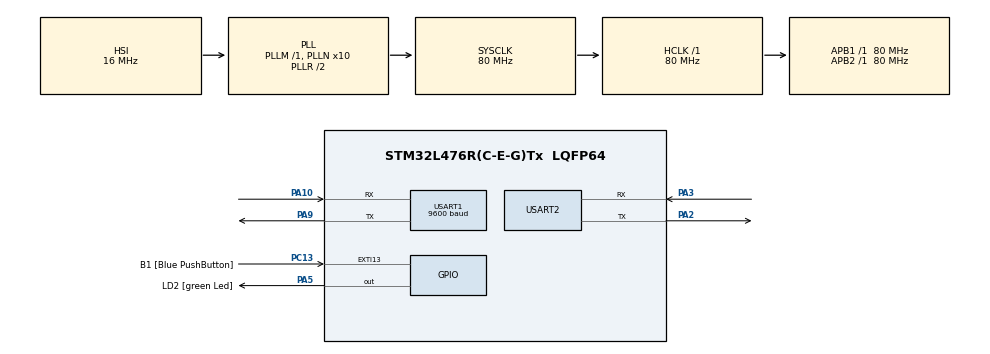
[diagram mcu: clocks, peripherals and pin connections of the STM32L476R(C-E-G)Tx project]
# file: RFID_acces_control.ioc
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Mcu.Family=STM32L4
Mcu.Name=STM32L476R(C-E-G)Tx
Mcu.Package=LQFP64
NVIC.PriorityGroup=NVIC_PRIORITYGROUP_4
NVIC.USART1_IRQn=true\:0\:0\:false\:false\:true\:true\:true
PA10.Mode=Asynchronous
PA10.Signal=USART1_RX
PA13\ (JTMS-SWDIO).GPIO_Label=TMS
PA13\ (JTMS-SWDIO).Mode=Serial_Wire
PA13\ (JTMS-SWDIO).Signal=SYS_JTMS-SWDIO
PA14\ (JTCK-SWCLK).GPIO_Label=TCK
PA14\ (JTCK-SWCLK).Mode=Serial_Wire
PA14\ (JTCK-SWCLK).Signal=SYS_JTCK-SWCLK
PA2.Mode=Asynchronous
PA2.Signal=USART2_TX
PA3.Mode=Asynchronous
PA3.Signal=USART2_RX
PA5.GPIO_Label=LD2 [green Led]
PA5.GPIO_ModeDefaultOutputPP=GPIO_MODE_OUTPUT_PP
PA5.GPIO_PuPd=GPIO_NOPULL
PA5.GPIO_Speed=GPIO_SPEED_FREQ_LOW
PA5.Signal=GPIO_Output
PA9.Mode=Asynchronous
PA9.Signal=USART1_TX
PB3\ (JTDO-TRACESWO).GPIO_Label=SWO
PB3\ (JTDO-TRACESWO).Signal=SYS_JTDO-SWO
PC13.GPIO_Label=B1 [Blue PushButton]
PC13.GPIO_ModeDefaultEXTI=GPIO_MODE_IT_FALLING
PC13.GPIO_PuPd=GPIO_NOPULL
PC13.Signal=GPXTI13
PC14-OSC32_IN\ (PC14).Mode=LSE-External-Oscillator
PC14-OSC32_IN\ (PC14).Signal=RCC_OSC32_IN
PC15-OSC32_OUT\ (PC15).Mode=LSE-External-Oscillator
PC15-OSC32_OUT\ (PC15).Signal=RCC_OSC32_OUT
PH0-OSC_IN\ (PH0).Signal=RCC_OSC_IN
PH1-OSC_OUT\ (PH1).Signal=RCC_OSC_OUT
ProjectManager.HeapSize=0x200
ProjectManager.StackSize=0x400
ProjectManager.TargetToolchain=STM32CubeIDE
RCC.ADCFreq_Value=64000000
RCC.AHBFreq_Value=80000000
RCC.APB1Freq_Value=80000000
RCC.APB1TimFreq_Value=80000000
RCC.APB2Freq_Value=80000000
RCC.APB2TimFreq_Value=80000000
RCC.CortexFreq_Value=80000000
RCC.HCLKFreq_Value=80000000
RCC.HSE_VALUE=8000000
RCC.HSI_VALUE=16000000
RCC.MSI_VALUE=4000000
RCC.PLLN=10
RCC.PLLSourceVirtual=RCC_PLLSOURCE_HSI
RCC.PREFETCH_ENABLE=1
RCC.SYSCLKFreq_VALUE=80000000
RCC.SYSCLKSource=RCC_SYSCLKSOURCE_PLLCLK
RCC.USBFreq_Value=64000000
RCC.VCOOutputFreq_Value=160000000
USART1.BaudRate=9600
USART1.VirtualMode-Asynchronous=VM_ASYNC
USART2.VirtualMode-Asynchronous=VM_ASYNC
board=NUCLEO-L476RG

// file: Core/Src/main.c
/* USER CODE BEGIN Header */
/**
  ******************************************************************************
  * @file           : main.c
  * @brief          : Main program body
  ******************************************************************************
  * @attention
  *
  * <h2><center>&copy; Copyright (c) 2023 STMicroelectronics.
  * All rights reserved.</center></h2>
  *
  * This software component is licensed by ST under BSD 3-Clause license,
  * the "License"; You may not use this file except in compliance with the
  * License. You may obtain a copy of the License at:
  *                        opensource.org/licenses/BSD-3-Clause
  *
  ******************************************************************************
  */
/* USER CODE END Header */
#include "main.h"

/* USER CODE BEGIN Includes */
#include "stdio.h"
#include "stdlib.h"
#include "string.h"
/* USER CODE END Includes */

/* USER CODE BEGIN PD */
#define RFID_FRAME_SIZE 14
/* USER CODE END PD */

UART_HandleTypeDef huart1;
UART_HandleTypeDef huart2;

/* USER CODE BEGIN PV */
const int BUFFER_SIZE = 14; // RFID DATA FRAME FORMAT: 1byte head (value: 2), 10byte data (2byte version + 8byte tag), 2byte checksum, 1byte tail (value: 3)
const int DATA_SIZE = 10; // 10byte data (2byte version + 8byte tag)
const int DATA_VERSION_SIZE = 2; // 2byte version (actual meaning of these two bytes may vary)
const int DATA_TAG_SIZE = 8; // 8byte tag
const int CHECKSUM_SIZE = 2; // 2byte checksum
uint8_t buffer[RFID_FRAME_SIZE];
/* USER CODE END PV */

void SystemClock_Config(void);
static void MX_GPIO_Init(void);
static void MX_USART1_UART_Init(void);
static void MX_USART2_UART_Init(void);
/* USER CODE BEGIN PFP */
uint32_t hexstr_to_value(char *str, unsigned int length);
uint32_t extract_tag();
/* USER CODE END PFP */

/* USER CODE BEGIN 0 */
int _write(int file, char *ptr, int len)
{
	for(int i = 0; i < len; i++)
	{
		ITM_SendChar(*ptr++);
	}
	return len;
}

void HAL_UART_RxCpltCallback(UART_HandleTypeDef *huart)
{
  printf("Received data: ");
  for(int i = 0; i < RFID_FRAME_SIZE; i++)
  {
	  printf("%d ", buffer[i]);
  }
  printf("\n");
  extract_tag();
  HAL_UART_Receive_IT(&huart1, buffer, RFID_FRAME_SIZE);
}
/* USER CODE END 0 */

int main(void)
{

  /* MCU Configuration--------------------------------------------------------*/

  /* Reset of all peripherals, Initializes the Flash interface and the Systick. */
  HAL_Init();

  /* Configure the system clock */
  SystemClock_Config();

  /* Initialize all configured peripherals */
  MX_GPIO_Init();
  MX_USART1_UART_Init();
  MX_USART2_UART_Init();
  /* USER CODE BEGIN 2 */
  HAL_UART_Receive_IT (&huart1, buffer, RFID_FRAME_SIZE);
  /* USER CODE END 2 */

  /* Infinite loop */
  while (1)
  {
	  //printf("PRINTF check\n");
	  //HAL_Delay(5000);
  }
}

void SystemClock_Config(void)
{
  RCC_OscInitTypeDef RCC_OscInitStruct = {0};
  RCC_ClkInitTypeDef RCC_ClkInitStruct = {0};

  /** Configure the main internal regulator output voltage
  */
  if (HAL_PWREx_ControlVoltageScaling(PWR_REGULATOR_VOLTAGE_SCALE1) != HAL_OK)
  {
    Error_Handler();
  }
  /** Initializes the RCC Oscillators according to the specified parameters
  * in the RCC_OscInitTypeDef structure.
  */
  RCC_OscInitStruct.OscillatorType = RCC_OSCILLATORTYPE_HSI;
  RCC_OscInitStruct.HSIState = RCC_HSI_ON;
  RCC_OscInitStruct.HSICalibrationValue = RCC_HSICALIBRATION_DEFAULT;
  RCC_OscInitStruct.PLL.PLLState = RCC_PLL_ON;
  RCC_OscInitStruct.PLL.PLLSource = RCC_PLLSOURCE_HSI;
  RCC_OscInitStruct.PLL.PLLM = 1;
  RCC_OscInitStruct.PLL.PLLN = 10;
  RCC_OscInitStruct.PLL.PLLP = RCC_PLLP_DIV7;
  RCC_OscInitStruct.PLL.PLLQ = RCC_PLLQ_DIV2;
  RCC_OscInitStruct.PLL.PLLR = RCC_PLLR_DIV2;
  if (HAL_RCC_OscConfig(&RCC_OscInitStruct) != HAL_OK)
  {
    Error_Handler();
  }
  /** Initializes the CPU, AHB and APB buses clocks
  */
  RCC_ClkInitStruct.ClockType = RCC_CLOCKTYPE_HCLK|RCC_CLOCKTYPE_SYSCLK
                              |RCC_CLOCKTYPE_PCLK1|RCC_CLOCKTYPE_PCLK2;
  RCC_ClkInitStruct.SYSCLKSource = RCC_SYSCLKSOURCE_PLLCLK;
  RCC_ClkInitStruct.AHBCLKDivider = RCC_SYSCLK_DIV1;
  RCC_ClkInitStruct.APB1CLKDivider = RCC_HCLK_DIV1;
  RCC_ClkInitStruct.APB2CLKDivider = RCC_HCLK_DIV1;

  if (HAL_RCC_ClockConfig(&RCC_ClkInitStruct, FLASH_LATENCY_4) != HAL_OK)
  {
    Error_Handler();
  }
}

static void MX_USART1_UART_Init(void)
{

  huart1.Instance = USART1;
  huart1.Init.BaudRate = 9600;
  huart1.Init.WordLength = UART_WORDLENGTH_8B;
  huart1.Init.StopBits = UART_STOPBITS_1;
  huart1.Init.Parity = UART_PARITY_NONE;
  huart1.Init.Mode = UART_MODE_TX_RX;
  huart1.Init.HwFlowCtl = UART_HWCONTROL_NONE;
  huart1.Init.OverSampling = UART_OVERSAMPLING_16;
  huart1.Init.OneBitSampling = UART_ONE_BIT_SAMPLE_DISABLE;
  huart1.AdvancedInit.AdvFeatureInit = UART_ADVFEATURE_NO_INIT;
  if (HAL_UART_Init(&huart1) != HAL_OK)
  {
    Error_Handler();
  }

}

static void MX_USART2_UART_Init(void)
{

  huart2.Instance = USART2;
  huart2.Init.BaudRate = 115200;
  huart2.Init.WordLength = UART_WORDLENGTH_8B;
  huart2.Init.StopBits = UART_STOPBITS_1;
  huart2.Init.Parity = UART_PARITY_NONE;
  huart2.Init.Mode = UART_MODE_TX_RX;
  huart2.Init.HwFlowCtl = UART_HWCONTROL_NONE;
  huart2.Init.OverSampling = UART_OVERSAMPLING_16;
  huart2.Init.OneBitSampling = UART_ONE_BIT_SAMPLE_DISABLE;
  huart2.AdvancedInit.AdvFeatureInit = UART_ADVFEATURE_NO_INIT;
  if (HAL_UART_Init(&huart2) != HAL_OK)
  {
    Error_Handler();
  }

}

static void MX_GPIO_Init(void)
{
  GPIO_InitTypeDef GPIO_InitStruct = {0};

  /* GPIO Ports Clock Enable */
  __HAL_RCC_GPIOC_CLK_ENABLE();
  __HAL_RCC_GPIOH_CLK_ENABLE();
  __HAL_RCC_GPIOA_CLK_ENABLE();
  __HAL_RCC_GPIOB_CLK_ENABLE();

  /*Configure GPIO pin Output Level */
  HAL_GPIO_WritePin(LD2_GPIO_Port, LD2_Pin, GPIO_PIN_RESET);

  /*Configure GPIO pin : B1_Pin */
  GPIO_InitStruct.Pin = B1_Pin;
  GPIO_InitStruct.Mode = GPIO_MODE_IT_FALLING;
  GPIO_InitStruct.Pull = GPIO_NOPULL;
  HAL_GPIO_Init(B1_GPIO_Port, &GPIO_InitStruct);

  /*Configure GPIO pin : LD2_Pin */
  GPIO_InitStruct.Pin = LD2_Pin;
  GPIO_InitStruct.Mode = GPIO_MODE_OUTPUT_PP;
  GPIO_InitStruct.Pull = GPIO_NOPULL;
  GPIO_InitStruct.Speed = GPIO_SPEED_FREQ_LOW;
  HAL_GPIO_Init(LD2_GPIO_Port, &GPIO_InitStruct);

}

/* USER CODE BEGIN 4 */
uint32_t extract_tag() {
  uint8_t msg_head = buffer[0];
  uint8_t *msg_data = buffer + 1; // 10 byte => data contains 2byte version + 8byte tag
  uint8_t *msg_data_version = msg_data;
  uint8_t *msg_data_tag = msg_data + 2;
  uint8_t *msg_checksum = buffer + 11; // 2 byte
  uint8_t msg_tail = buffer[13];
  // print message that was sent from RDM630/RDM6300
  printf("--------\n");
  printf("Message-Head: ");
  printf("%d\n", msg_head);
  printf("Message-Data (HEX):\n");
  for (int i = 0; i < DATA_VERSION_SIZE; ++i) {
    printf("%c", (char)msg_data_version[i]);
  }
  printf(" (version)\n");
  for (int i = 0; i < DATA_TAG_SIZE; ++i) {
    printf("%c", (char)msg_data_tag[i]);
  }
  printf(" (tag)\n");
  printf("Message-Checksum (HEX): ");
  for (int i = 0; i < CHECKSUM_SIZE; ++i) {
    printf("%c", (char)msg_checksum[i]);
  }
  printf("\n");
  printf("Message-Tail: ");
  printf("%d\n", msg_tail);
  printf("--\n");
  uint32_t tag = hexstr_to_value((char*)msg_data_tag, DATA_TAG_SIZE);
  printf("Extracted Tag: ");
  printf("%lu\n", tag);
  uint16_t checksum = 0;
  for (int i = 0; i < DATA_SIZE; i+= CHECKSUM_SIZE) {
    long val = hexstr_to_value((char*)(msg_data + i), CHECKSUM_SIZE);
    checksum ^= val;
  }
  printf("Extracted Checksum (HEX): ");
  printf("0x%X", checksum);
  if (checksum == hexstr_to_value((char*)msg_checksum, CHECKSUM_SIZE)) { // compare calculated checksum to retrieved checksum
    printf(" (OK)"); // calculated checksum corresponds to transmitted checksum!
  } else {
    printf(" (NOT OK)"); // checksums do not match
  }
  printf("\n");
  printf("--------\n");
  return tag;
}

uint32_t hexstr_to_value(char *str, unsigned int length) { // converts a hexadecimal value (encoded as ASCII string) to a numeric value
  char* copy = malloc((sizeof(char) * length) + 1);
  memcpy(copy, str, sizeof(char) * length);
  copy[length] = '\0';
  // the variable "copy" is a copy of the parameter "str". "copy" has an additional '\0' element to make sure that "str" is null-terminated.
  uint32_t value = strtol(copy, NULL, 16); // strtol converts a null-terminated string to a long value
  free(copy); // clean up
  return value;
}
/* USER CODE END 4 */

void Error_Handler(void)
{
  __disable_irq();
  while (1)
  {
  }
}

/************************ (C) COPYRIGHT STMicroelectronics *****END OF FILE****/
